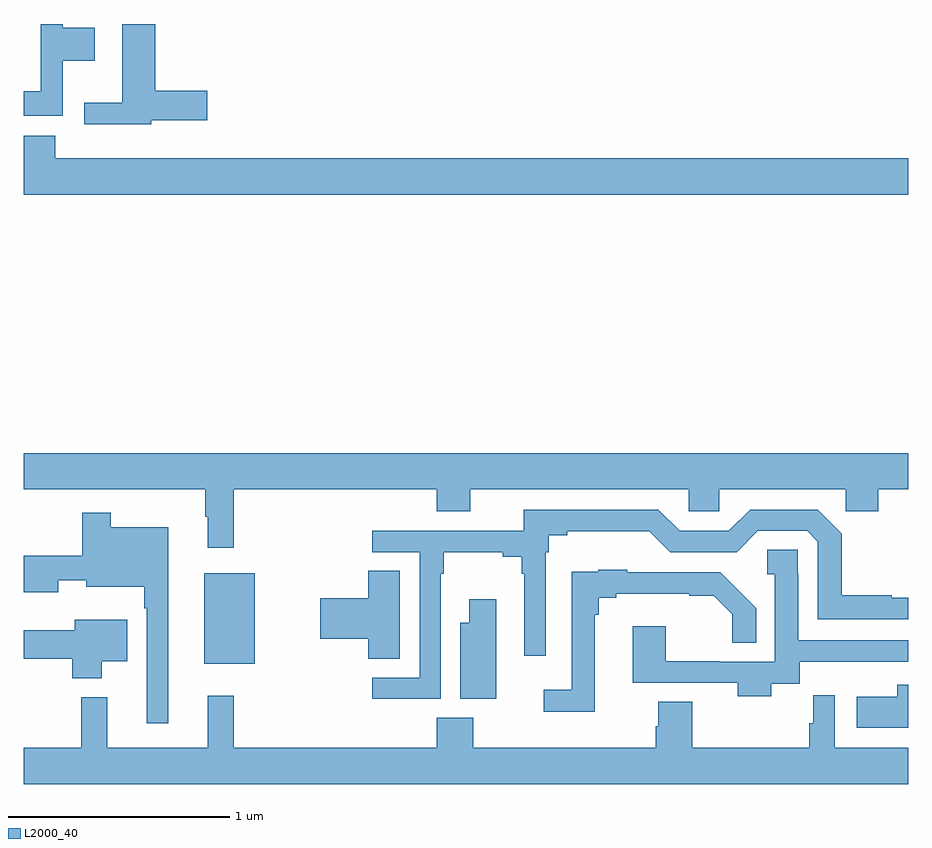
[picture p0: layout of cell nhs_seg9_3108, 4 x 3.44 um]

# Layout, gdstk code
import gdstk
lib = gdstk.Library(unit=1e-6, precision=1e-09)
def R(c, l, rs):  # rectangles x0, y0, x1, y1
    for r in rs: c.add(gdstk.rectangle(r[:2], r[2:], *l))
def P(c, l, *ps):  # polygons
    for p in ps: c.add(gdstk.Polygon(p, *l))
L2000_40 = (2000, 40)

nhs_seg9_3108 = lib.new_cell('nhs_seg9_3108')
R(nhs_seg9_3108, L2000_40, [(289.817,1219.607,290.044,1220.017)])
P(nhs_seg9_3108, L2000_40, [(289.178,1222.334),(289.321,1222.334),(289.321,1222.482),(289.178,1222.482),(289.178,1222.5),(289.077,1222.5),(289.077,1222.195),(289,1222.195),(289,1222.086),(289.178,1222.086)],
  [(289.578,1222.064),(289.831,1222.064),(289.831,1222.199),(289.595,1222.199),(289.595,1222.5),(289.445,1222.5),(289.445,1222.145),(289.275,1222.145),(289.275,1222.046),(289.578,1222.046)],
  [(293,1221.892),(289.142,1221.892),(289.142,1221.994),(289,1221.994),(289,1221.728),(293,1221.728)],
  [(289.949,1220.396),(290.867,1220.396),(290.867,1220.297),(291.019,1220.297),(291.019,1220.396),(292.008,1220.396),(292.008,1220.298),(292.146,1220.298),(292.146,1220.396),(292.717,1220.396),(292.717,1220.298),(292.863,1220.298),(292.863,1220.396),(293,1220.396),(293,1220.56),(289,1220.56),(289,1220.396),(289.821,1220.396),(289.821,1220.273),(289.832,1220.273),(289.832,1220.133),(289.949,1220.133)],
  [(290.886,1220.015),(290.899,1220.015),(290.899,1220.111),(291.167,1220.111),(291.167,1220.092),(291.252,1220.092),(291.252,1220.015),(291.264,1220.015),(291.264,1219.644),(291.36,1219.644),(291.36,1220.111),(291.373,1220.111),(291.373,1220.188),(291.457,1220.188),(291.457,1220.207),(291.829,1220.207),(291.924,1220.112),(292.224,1220.112),(292.32,1220.208),(292.542,1220.208),(292.59,1220.16),(292.59,1219.809),(293,1219.809),(293,1219.905),(292.925,1219.905),(292.925,1219.918),(292.699,1219.918),(292.699,1220.195),(292.59,1220.304),(292.284,1220.304),(292.188,1220.208),(291.966,1220.208),(291.87,1220.304),(291.262,1220.304),(291.262,1220.208),(290.577,1220.208),(290.577,1220.112),(290.79,1220.112),(290.79,1219.545),(290.577,1219.545),(290.577,1219.449),(290.886,1219.449)],
  [(289.654,1220.224),(289.393,1220.224),(289.393,1220.29),(289.264,1220.29),(289.264,1220.095),(289,1220.095),(289,1219.931),(289.156,1219.931),(289.156,1219.985),(289.283,1219.985),(289.283,1219.955),(289.545,1219.955),(289.545,1219.859),(289.557,1219.859),(289.557,1219.338),(289.654,1219.338)],
  [(292.381,1219.517),(292.51,1219.517),(292.51,1219.616),(292.779,1219.616),(292.779,1219.617),(293,1219.617),(293,1219.713),(292.501,1219.713),(292.501,1220.015),(292.5,1220.015),(292.5,1220.123),(292.362,1220.123),(292.362,1220.012),(292.397,1220.012),(292.397,1219.617),(292.145,1219.617),(292.145,1219.619),(291.903,1219.619),(291.903,1219.777),(291.755,1219.777),(291.755,1219.521),(292.229,1219.521),(292.229,1219.46),(292.381,1219.46)],
  [(291.583,1219.829),(291.601,1219.829),(291.601,1219.906),(291.679,1219.906),(291.679,1219.925),(292.01,1219.925),(292.01,1219.914),(292.119,1219.914),(292.203,1219.831),(292.203,1219.702),(292.312,1219.702),(292.312,1219.859),(292.228,1219.942),(292.229,1219.943),(292.15,1220.022),(291.729,1220.022),(291.729,1220.032),(291.597,1220.032),(291.597,1220.024),(291.479,1220.024),(291.479,1219.489),(291.351,1219.489),(291.351,1219.391),(291.583,1219.391)],
  [(290.701,1220.027),(290.558,1220.027),(290.558,1219.904),(290.34,1219.904),(290.34,1219.721),(290.558,1219.721),(290.558,1219.63),(290.701,1219.63)],
  [(291.136,1219.9),(291.014,1219.9),(291.014,1219.792),(290.975,1219.792),(290.975,1219.449),(291.136,1219.449)],
  [(289.354,1219.619),(289.468,1219.619),(289.468,1219.807),(289.232,1219.807),(289.232,1219.759),(289,1219.759),(289,1219.63),(289.22,1219.63),(289.22,1219.541),(289.354,1219.541)],
  [(293,1219.512),(292.949,1219.512),(292.949,1219.459),(292.767,1219.459),(292.767,1219.319),(293,1219.319)],
  [(293,1219.228),(292.668,1219.228),(292.668,1219.465),(292.571,1219.465),(292.571,1219.338),(292.552,1219.338),(292.552,1219.228),(292.022,1219.228),(292.022,1219.436),(291.869,1219.436),(291.869,1219.326),(291.857,1219.326),(291.857,1219.228),(291.032,1219.228),(291.032,1219.363),(290.867,1219.363),(290.867,1219.228),(289.949,1219.228),(289.949,1219.462),(289.832,1219.462),(289.832,1219.228),(289.379,1219.228),(289.379,1219.456),(289.261,1219.456),(289.261,1219.228),(289,1219.228),(289,1219.064),(293,1219.064)])

lib.write_gds('nhs_seg9_3108.gds')
